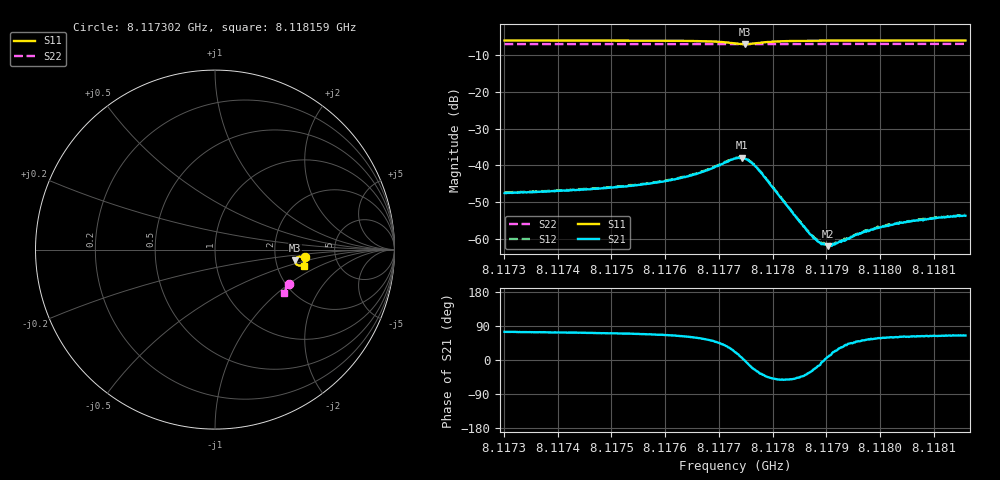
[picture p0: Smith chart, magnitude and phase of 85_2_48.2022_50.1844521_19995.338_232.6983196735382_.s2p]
#  HZ  S  RI  R  50.00
! Rohde & Schwarz Vector Network Analyzer
! Rohde-Schwarz,ZNB20-2Port,1311601062101988,3.16
! Created: UTC 3/20/2024, 11:39:51 AM
! freq[Hz]  re:S11  im:S11  re:S21  im:S21  re:S12  im:S12  re:S22  im:S22
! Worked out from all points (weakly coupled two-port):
!   401 points, 8.117302 GHz to 8.118159 GHz, reference 50 ohm
!   highest |S21| = -37.92 dB at 8.117743 GHz (marker M1); lowest = -62.0 dB at 8.117904 GHz (marker M2)
!   lowest |S11| = -6.9 dB at 8.117749 GHz (marker M3), VSWR 2.64, Z = 129 - j19.3 ohm
!   |S11| at or under -10 dB: nowhere
!   |S22| runs from -6.9 to -6.9 dB; largest |S21 - S12| = 0.00044
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8.1173015e9  0.5039 -0.0409  0.00114 0.00405  0.00122 0.0041  0.4099 -0.1892
8.1174451e9  0.5022 -0.0537  0.00146 0.00445  0.00152 0.00451  0.4059 -0.1987
8.1175201e9  0.5005 -0.0613  0.00177 0.00482  0.00182 0.0049  0.4037 -0.2034
8.1175887e9  0.4978 -0.0695  0.00234 0.00544  0.00244 0.00554  0.4017 -0.208
8.1176209e9  0.4956 -0.0743  0.00288 0.00587  0.00296 0.00594  0.4007 -0.2101
8.1176594e9  0.4903 -0.0812  0.00402 0.00659  0.00417 0.00668  0.3991 -0.2126
8.1177302e9  0.4539 -0.0823  0.0116 0.00443  0.0119 0.00447  0.3954 -0.2163
8.117743e9  0.4465 -0.0685  0.0126 0.00133  0.0128 0.00119  0.3949 -0.2164
8.1177495e9  0.4466 -0.0599  0.0123 -0.000731  0.0125 -0.000765  0.3949 -0.2164
8.1177623e9  0.4547 -0.0454  0.00994 -0.00387  0.01 -0.00386  0.395 -0.2166
8.1177773e9  0.4694 -0.0393  0.00652 -0.00482  0.00672 -0.0049  0.3953 -0.2173
8.1178588e9  0.4967 -0.0591  0.00109 -0.000971  0.00113 -0.000966  0.3937 -0.2235
8.1178738e9  0.4976 -0.062  0.000965 -0.000526  0.000985 -0.000512  0.3933 -0.2246
8.1178888e9  0.4981 -0.0647  0.000855 -0.000191  0.000882 -0.000168  0.3927 -0.2255
8.1178973e9  0.4982 -0.0659  0.000846 2.48e-05  0.000836 2.68e-05  0.3925 -0.2261
8.1179038e9  0.4983 -0.067  0.000784 0.000122  0.000876 0.00013  0.3924 -0.2266
8.1179123e9  0.4985 -0.0685  0.000797 0.000304  0.000799 0.000294  0.392 -0.2272
8.1179724e9  0.4984 -0.076  0.000769 0.00101  0.000819 0.00102  0.3901 -0.231
8.1180174e9  0.498 -0.0807  0.000768 0.00131  0.000824 0.00135  0.3886 -0.2338
8.1180624e9  0.4975 -0.0852  0.000816 0.00158  0.000841 0.00155  0.387 -0.2367
8.1181095e9  0.4969 -0.0895  0.000864 0.00175  0.00087 0.00175  0.3854 -0.2395
8.1181588e9  0.4962 -0.0937  0.000878 0.00186  0.000906 0.00193  0.3836 -0.2426
